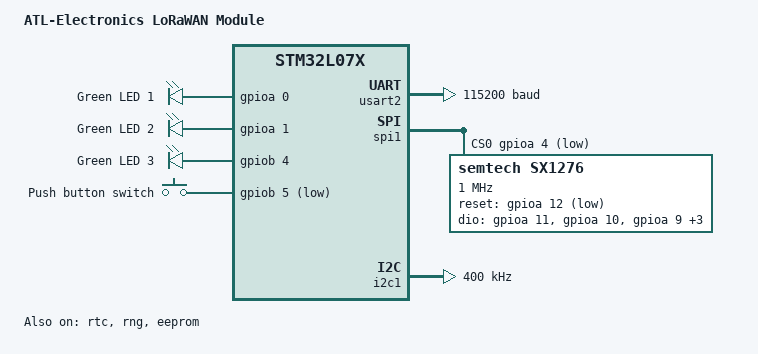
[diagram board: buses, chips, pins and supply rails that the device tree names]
/*
 * Copyright (c) 2018 Aleksandr Makarov <aleksandr.o.makarov@gmail.com>
 * Copyright (c) 2020 ATL-Electronics
 *
 * SPDX-License-Identifier: Apache-2.0
 */

/dts-v1/;
#include <st/l0/stm32l072Xb.dtsi>

/ {
	model = "ATL-Electronics LoRaWAN Module";
	compatible = "atl,stm32l07x-lrwan";

	chosen {
		zephyr,console = &usart2;
		zephyr,shell-uart = &usart2;
		zephyr,sram = &sram0;
		zephyr,flash = &flash0;
	};

	leds {
		compatible = "gpio-leds";
		green_led_0: led_0 {
			gpios = <&gpioa 0 GPIO_ACTIVE_HIGH>;
			label = "Green LED 1";
		};
		green_led_1: led_1 {
			gpios = <&gpioa 1 GPIO_ACTIVE_HIGH>;
			label = "Green LED 2";
		};
		green_led_2: led_2 {
			gpios = <&gpiob 4 GPIO_ACTIVE_HIGH>;
			label = "Green LED 3";
		};
	};

	gpio_keys {
		compatible = "gpio-keys";
		user_button: button_0 {
			label = "Push button switch";
			gpios = <&gpiob 5 GPIO_ACTIVE_LOW>;
		};
	};

	/* These aliases are provided for compatibility with samples */
	aliases {
		led0 = &green_led_0;
		led1 = &green_led_1;
		led2 = &green_led_2;
		sw0 = &user_button;
		eeprom-0 = &eeprom;
		lora0 = &lora;
	};
};

&usart2 {
	current-speed = <115200>;
	status = "okay";
};

&spi1 {
	status = "okay";
	cs-gpios = <&gpioa 4 GPIO_ACTIVE_LOW>;

	lora: sx1276@0 {
		compatible = "semtech,sx1276";
		reg = <0>;
		label = "sx1276";
		reset-gpios = <&gpioa 12 GPIO_ACTIVE_LOW>;
		dio-gpios = <&gpioa 11 (GPIO_PULL_DOWN | GPIO_ACTIVE_HIGH)>,
			<&gpioa 10 (GPIO_PULL_DOWN | GPIO_ACTIVE_HIGH)>,
			<&gpioa 9 (GPIO_PULL_DOWN | GPIO_ACTIVE_HIGH)>,
			<&gpioa 8 (GPIO_PULL_DOWN | GPIO_ACTIVE_HIGH)>,
			<&gpiob 1 (GPIO_PULL_DOWN | GPIO_ACTIVE_HIGH)>,
			<&gpiob 2 (GPIO_PULL_DOWN | GPIO_ACTIVE_HIGH)>;
		power-amplifier-output="pa-boost";
		spi-max-frequency = <1000000>;
	};
};

&i2c1 {
	status = "okay";
	clock-frequency = <I2C_BITRATE_FAST>;
};

&rtc {
	status = "okay";
};

&rng {
	status = "okay";
};

&eeprom {
	status = "okay";
};

&flash0 {
	partitions {
		compatible = "fixed-partitions";
		#address-cells = <1>;
		#size-cells = <1>;

		/* Set aside 16KiB for data at the end of the 128KiB flash */
		storage_partition: partition@24000 {
			label = "storage";
			reg = <0x00024000 0x00004000>;
		};
	};
};
